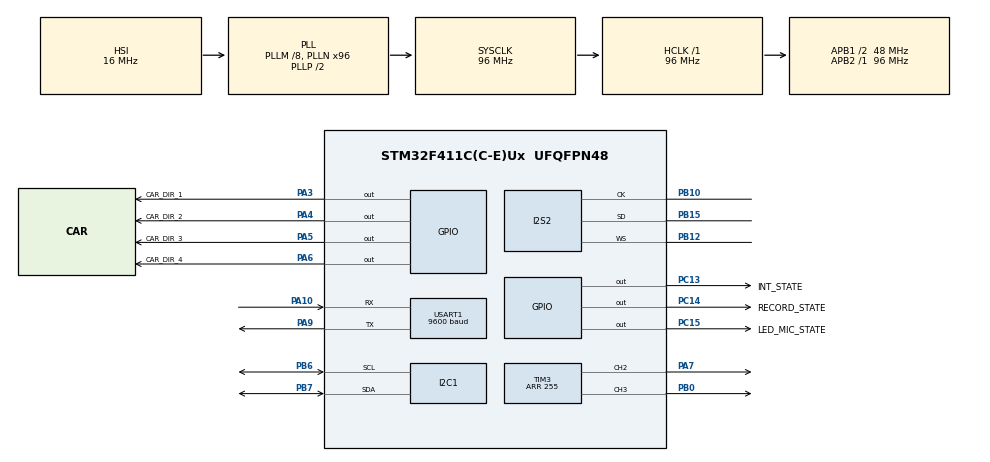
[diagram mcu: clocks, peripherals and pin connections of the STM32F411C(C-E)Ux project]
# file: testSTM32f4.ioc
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Dma.Request0=SPI2_RX
Dma.SPI2_RX.0.Direction=DMA_PERIPH_TO_MEMORY
Dma.SPI2_RX.0.FIFOMode=DMA_FIFOMODE_DISABLE
Dma.SPI2_RX.0.Instance=DMA1_Stream3
Dma.SPI2_RX.0.MemDataAlignment=DMA_MDATAALIGN_HALFWORD
Dma.SPI2_RX.0.MemInc=DMA_MINC_ENABLE
Dma.SPI2_RX.0.Mode=DMA_CIRCULAR
Dma.SPI2_RX.0.PeriphDataAlignment=DMA_PDATAALIGN_HALFWORD
Dma.SPI2_RX.0.PeriphInc=DMA_PINC_DISABLE
Dma.SPI2_RX.0.Priority=DMA_PRIORITY_LOW
I2S2.AudioFreq=I2S_AUDIOFREQ_16K
I2S2.ErrorAudioFreq=0.0 %
I2S2.FullDuplexMode=I2S_FULLDUPLEXMODE_DISABLE
I2S2.Instance=SPI$Index
I2S2.Mode=I2S_MODE_MASTER_RX
I2S2.RealAudioFreq=16.0 KHz
I2S2.VirtualMode=I2S_MODE_MASTER
Mcu.Family=STM32F4
Mcu.Name=STM32F411C(C-E)Ux
Mcu.Package=UFQFPN48
NVIC.DMA1_Stream3_IRQn=true\:0\:0\:false\:false\:true\:false\:true\:true
NVIC.PriorityGroup=NVIC_PRIORITYGROUP_4
NVIC.TIM5_IRQn=true\:0\:0\:false\:false\:true\:true\:true\:true
NVIC.USART1_IRQn=true\:0\:0\:false\:false\:true\:true\:true\:true
PA10.Mode=Asynchronous
PA10.Signal=USART1_RX
PA13.Mode=Serial_Wire
PA13.Signal=SYS_JTMS-SWDIO
PA14.Mode=Serial_Wire
PA14.Signal=SYS_JTCK-SWCLK
PA3.GPIO_Label=CAR_DIR_1
PA3.GPIO_PuPd=GPIO_PULLDOWN
PA3.Signal=GPIO_Output
PA4.GPIO_Label=CAR_DIR_2
PA4.GPIO_PuPd=GPIO_PULLDOWN
PA4.Signal=GPIO_Output
PA5.GPIO_Label=CAR_DIR_3
PA5.GPIO_PuPd=GPIO_PULLDOWN
PA5.Signal=GPIO_Output
PA6.GPIO_Label=CAR_DIR_4
PA6.GPIO_PuPd=GPIO_PULLDOWN
PA6.Signal=GPIO_Output
PA7.Signal=S_TIM3_CH2
PA9.Mode=Asynchronous
PA9.Signal=USART1_TX
PB0.Signal=S_TIM3_CH3
PB10.Mode=Half_Duplex_Master
PB10.Signal=I2S2_CK
PB12.Mode=Half_Duplex_Master
PB12.Signal=I2S2_WS
PB15.Mode=Half_Duplex_Master
PB15.Signal=I2S2_SD
PB6.Mode=I2C
PB6.Signal=I2C1_SCL
PB7.Mode=I2C
PB7.Signal=I2C1_SDA
PC13-ANTI_TAMP.GPIO_Label=INT_STATE
PC13-ANTI_TAMP.Signal=GPIO_Output
PC14-OSC32_IN.GPIO_Label=RECORD_STATE
PC14-OSC32_IN.GPIO_PuPd=GPIO_PULLDOWN
PC14-OSC32_IN.Signal=GPIO_Output
PC15-OSC32_OUT.GPIO_Label=LED_MIC_STATE
PC15-OSC32_OUT.GPIO_PuPd=GPIO_PULLDOWN
PC15-OSC32_OUT.Signal=GPIO_Output
PH0\ -\ OSC_IN.Mode=HSE-External-Oscillator
PH0\ -\ OSC_IN.Signal=RCC_OSC_IN
PH1\ -\ OSC_OUT.Mode=HSE-External-Oscillator
PH1\ -\ OSC_OUT.Signal=RCC_OSC_OUT
ProjectManager.HeapSize=0x200
ProjectManager.StackSize=0x400
ProjectManager.TargetToolchain=STM32CubeIDE
RCC.48MHZClocksFreq_Value=48000000
RCC.AHBFreq_Value=96000000
RCC.APB1CLKDivider=RCC_HCLK_DIV2
RCC.APB1Freq_Value=48000000
RCC.APB1TimFreq_Value=96000000
RCC.APB2Freq_Value=96000000
RCC.APB2TimFreq_Value=96000000
RCC.CortexFreq_Value=96000000
RCC.HCLKFreq_Value=96000000
RCC.HSE_VALUE=8000000
RCC.HSI_VALUE=16000000
RCC.LSE_VALUE=32768
RCC.PLLI2SR=3
RCC.PLLM=8
RCC.PLLN=96
RCC.SYSCLKFreq_VALUE=96000000
RCC.SYSCLKSource=RCC_SYSCLKSOURCE_PLLCLK
RCC.VCOOutputFreq_Value=192000000
SH.S_TIM3_CH2.0=TIM3_CH2,PWM Generation2 CH2
SH.S_TIM3_CH3.0=TIM3_CH3,PWM Generation3 CH3
TIM3.Channel-PWM\ Generation2\ CH2=TIM_CHANNEL_2
TIM3.Channel-PWM\ Generation3\ CH3=TIM_CHANNEL_3
TIM3.Period=255
TIM5.Period=19999999
TIM5.Prescaler=95
USART1.BaudRate=9600
USART1.VirtualMode=VM_ASYNC
VP_TIM3_VS_ClockSourceINT.Mode=Internal
VP_TIM5_VS_ClockSourceINT.Mode=Internal
board=custom

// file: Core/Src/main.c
/* USER CODE BEGIN Header */
/**
  ******************************************************************************
  * @file           : main.c
  * @brief          : Main program body
  ******************************************************************************
  * @attention
  *
  * Copyright (c) 2023 STMicroelectronics.
  * All rights reserved.
  *
  * This software is licensed under terms that can be found in the LICENSE file
  * in the root directory of this software component.
  * If no LICENSE file comes with this software, it is provided AS-IS.
  *
  ******************************************************************************
  */
/* USER CODE END Header */
#include "main.h"

/* USER CODE BEGIN Includes */
#include "math.h"
#include "stdlib.h"
/* USER CODE END Includes */

/* USER CODE BEGIN PTD */
struct INT_FLAGS{
	uint8_t audioButton;
	uint8_t recordButton;
	uint8_t recordTimer;
	uint8_t dataReceived;
	uint8_t voiceControl;
	uint8_t dataReceivedUART;
};

struct INT_FLAGS flags;
/* USER CODE END PTD */

/* USER CODE BEGIN PD */
#define MOVE_STOP 53
#define MOVE_FORWARD 51
#define MOVE_BACKWARD 115
#define MOVE_RIGHT 180
#define MOVE_LEFT 244
#define VOICE_MOVE_FORWARD 59
#define VOICE_MOVE_BACKWARD 60
#define VOICE_MOVE_TURN 61
#define TRANSMIT_TOTAL_RECORDS_COUNT 54
#define RESET_RECORDS_COUNT 55
#define START_RECORD 56
#define START_VOICE_FFT 57
#define START_VOICE_FFT_DCT 58
#define BUFFER_SIZE 1024 // 128
#define FFT_LENGTH 512 // 64
#define DEBOUNCE_TIME_MS 20
#define MAX_RECORD_COUNT 2
#define MAX_FREQ_AND_GAIN 20 // If the number of dB stored is 10 then it must be doubled
							 // => 20 to keep track of which dB belongs to a certain FREQS
const uint8_t EEPROM_NEXT_RECORD_ADDRESS = 20;
const uint16_t EEPROM_RECORDS_COUNT_ADDRESS = 32767;
const uint16_t EEPROM_DEFAULT_RECORDS_AUDIO_ADDRESS = 0;
const uint16_t EEPROM_ADDRESS = 0xA0;

const float DCT_A_1  = 5.66712379;
const float DCT_A_2  = 1.71957088;
const float DCT_A_3  = 0.923897982;
const float DCT_A_4  = -0.284491777;
const float DCT_A_5  = 1.67162347;
const float DCT_A_6  = 1.1735419;
const float DCT_A_7  = -3.90389204;
const float DCT_A_8  = -3.8169148;
const float DCT_A_9  = -1.91115558;
const float DCT_A_10 = -2.23016357;
const float DCT_A_11 = -2.21148348;
const float DCT_A_12 = -0.434009075;

const float DCT_O_1  = 5.71994734;
const float DCT_O_2  = -2.77491927;
const float DCT_O_3  = 1.29311395;
const float DCT_O_4  = 3.47904277;
const float DCT_O_5  = 2.06083465;
const float DCT_O_6  = 0.068764925;
const float DCT_O_7  = -3.57752585;
const float DCT_O_8  = -0.775300026;
const float DCT_O_9  = 0.0306355953;
const float DCT_O_10 = -1.05181408;
const float DCT_O_11 = -2.92223406;
const float DCT_O_12 = -0.598013163;

const float DCT_U_1  = 7.88730955;
const float DCT_U_2  = -0.0517123938;
const float DCT_U_3  = -0.0444734097;
const float DCT_U_4  = -2.38391399;
const float DCT_U_5  = -4.31766558;
const float DCT_U_6  = -5.56417513;
const float DCT_U_7  = -4.05968857;
const float DCT_U_8  = -0.52616334;
const float DCT_U_9  = 0.649846077 ;
const float DCT_U_10 = -1.08310235 ;
const float DCT_U_11 = -2.79250503;
const float DCT_U_12 = -2.29874849;

/* USER CODE END PD */

I2C_HandleTypeDef hi2c1;

I2S_HandleTypeDef hi2s2;
DMA_HandleTypeDef hdma_spi2_rx;

TIM_HandleTypeDef htim3;
TIM_HandleTypeDef htim5;

UART_HandleTypeDef huart1;

/* USER CODE BEGIN PV */

// DCT initialization
const int nfilter = 40;
float FREQ_MEL[100];
float fbank[40] = {};
float Hm[40] = {};
float DCT[40] = {};
float Energy1, Energy2, Energy3;
float Nguong1, Nguong2, Nguong3;

int	 Nhan_duoc_chu_A;
int  Nhan_duoc_chu_O;
int	 Nhan_duoc_chu_U;

// Initialize array of 4 uint16 bit buffer
uint16_t receiveBuffer[BUFFER_SIZE];
static volatile uint16_t *rxBufferPtr;

// Initialize FFT IN array
float fftBufferIn[BUFFER_SIZE / 2];
uint16_t fftBufferIndex;

// Initialize FFT OUT array
//float32_t fftBufferOut[BUFFER_SIZE / 2];

// Initialize FREQS (Hz) array
float freqs[FFT_LENGTH / 4];
uint8_t storedFreqs[MAX_RECORD_COUNT][FFT_LENGTH / 4];
uint8_t averageHighestFreqs[MAX_FREQ_AND_GAIN];

// UART Tx data
uint8_t txData[1];

// UART Rx Data
uint8_t rxData[1];
uint8_t rxDataTemp[1];

// Debounce button time
uint32_t currentTimeInMillis = 0;
uint32_t previousTimeInMillis = 0;

// Numb of time audio got recorded while STM32 is turned on
// this will be reset when STM32 is turned off
uint8_t recordsCount;

// Numb of records that were saved in EEPROM
uint8_t recordsAudioCount[1];

// FFT complex struct
const float pi = 3.14159265358979323846264338327950288419716939937510;
struct complex {
	float re;
	float im;
};
struct complex b[FFT_LENGTH],c[FFT_LENGTH];

// State of I2S
int stateI2S;

// State of audio record sequence
uint8_t stateRecordAudio;

// ** TESTING **
uint8_t isA = 0;
uint8_t isO = 0;
uint8_t resultAvg = 2;
uint8_t readAfter;
uint8_t readBefore;
uint8_t arrayF[MAX_FREQ_AND_GAIN];
uint8_t toWrite[3] = {1, 4, 5};
uint8_t testTotal;
/* USER CODE END PV */

void SystemClock_Config(void);
static void MX_GPIO_Init(void);
static void MX_DMA_Init(void);
static void MX_I2S2_Init(void);
static void MX_I2C1_Init(void);
static void MX_TIM5_Init(void);
static void MX_USART1_UART_Init(void);
static void MX_TIM3_Init(void);
/* USER CODE BEGIN PFP */
void toggleAudioStream();
void fftTransform();
void processData();
void enableRecordAudio();
void setLedSuccess();
void startVoiceRecognition();
void startRecordSequence();
void processDataUART();
void dctTransform();
void calcDctEnergy();
void voiceMoveCommand(uint8_t command);
void MEL_BANK_FILTER(float freq_max, int nfilt);
void setCarDirections(uint8_t dirState1, uint8_t dirState2, uint8_t dirState3, uint8_t dirState4, uint8_t speed);
uint8_t store10HighestFreqsdB();
uint8_t writeEEPROM(uint8_t *dataArray, uint16_t addressToWrite, uint16_t size);
uint8_t readEEPROM(uint8_t *dataArray, uint16_t addressToRead, uint16_t size);
uint8_t getValidKeys();
uint8_t startRecordAudio();
float complexABS(float real, float compl);
/* USER CODE END PFP */

/* USER CODE BEGIN 0 */

void MEL_BANK_FILTER(float freq_max, int nfilt)
{
	float   m_min = 0.0;
	float	m_max = 2595.0 * log10f(1.0 + freq_max / 700.0);
	float   delta = (m_max - m_min) / (nfilt + 1);

	for (int i = 0; i <= ( nfilt +  1); i++)
	{
		float mel_temp= delta * i;
		FREQ_MEL[i] =700.0 * (pow(10.0,mel_temp / 2595.0) - 1.0);
	}
}

struct complex w(float kn, float N)
{
	struct complex A;
	A.re = cos(2*pi*(kn/N));
	A.im = -sin(2*pi*(kn/N));
	return A;
}

int reverseBit(int a)
{
	int b = 0;
	for(int i = 0; i < log2f(FFT_LENGTH); i++)
	{
		b = b << 1;
		if ((a & 1) == 1)
		{
			b = b | 1;
		}
		a = a >> 1;
	}
	return b;
}

void fft(float* input,int length)
{
	struct complex pro;
	for(int i = 0; i < length; i++)
	{
		b[i].re = input[reverseBit(i)];
		b[i].im = 0;
	}
	for (int step = 0 ; (1 << step) < length; step ++)
	{
		for(int i = 0; i < length ; i ++)
		{
			if((i & (1 << step )) == 0)
			{
				pro.re = b[i+ (1 << step)].re * w((i+ (1 << step)) % (1 << step),pow(2,step+1)).re -  b[i+ (1 << step)].im * w((i+ (1 << step)) % (1 << step),pow(2,step+1)).im;
				pro.im = b[i+ (1 << step)].im * w((i+ (1 << step)) % (1 << step),pow(2,step+1)).re +  b[i+ (1 << step)].re * w((i+ (1 << step)) % (1 << step),pow(2,step+1)).im;
				b[i + (1 << step)].re = b[i].re - pro.re;
				b[i + (1 << step)].im = b[i].im - pro.im;
				b[i].re += pro.re;
				b[i].im += pro.im;
			}
		}
	}
}
/* USER CODE END 0 */

int main(void)
{

  /* MCU Configuration--------------------------------------------------------*/

  /* Reset of all peripherals, Initializes the Flash interface and the Systick. */
  HAL_Init();

  /* Configure the system clock */
  SystemClock_Config();

  /* Initialize all configured peripherals */
  MX_GPIO_Init();
  MX_DMA_Init();
  MX_I2S2_Init();
  MX_I2C1_Init();
  MX_TIM5_Init();
  MX_USART1_UART_Init();
  MX_TIM3_Init();
  /* USER CODE BEGIN 2 */

  flags.recordTimer = 1;
  flags.recordButton = 0;
  flags.audioButton = 0;

  HAL_UART_Receive_IT(&huart1, (uint8_t *) rxData, 1);
  HAL_TIM_PWM_Start(&htim3, TIM_CHANNEL_2);
  HAL_TIM_PWM_Start(&htim3, TIM_CHANNEL_3);

  /* USER CODE END 2 */

  /* Infinite loop */
  /* USER CODE BEGIN WHILE */
  while (1)
  {
	  // Clear FFT buffer index after each iteration
	  fftBufferIndex = 0;

	  if(flags.dataReceivedUART == 1) processDataUART();
	  if(flags.audioButton == 1) toggleAudioStream();
	  if(flags.recordButton == 1 && rxDataTemp[0] == START_VOICE_FFT) startRecordSequence();
	  if(flags.dataReceived == 1) processData();
	  if(flags.voiceControl == 1 && rxDataTemp[0] == START_VOICE_FFT) startVoiceRecognition();
    /* USER CODE END WHILE */

  }
}

void SystemClock_Config(void)
{
  RCC_OscInitTypeDef RCC_OscInitStruct = {0};
  RCC_ClkInitTypeDef RCC_ClkInitStruct = {0};

  /** Configure the main internal regulator output voltage
  */
  __HAL_RCC_PWR_CLK_ENABLE();
  __HAL_PWR_VOLTAGESCALING_CONFIG(PWR_REGULATOR_VOLTAGE_SCALE1);

  /** Initializes the RCC Oscillators according to the specified parameters
  * in the RCC_OscInitTypeDef structure.
  */
  RCC_OscInitStruct.OscillatorType = RCC_OSCILLATORTYPE_HSI;
  RCC_OscInitStruct.HSIState = RCC_HSI_ON;
  RCC_OscInitStruct.HSICalibrationValue = RCC_HSICALIBRATION_DEFAULT;
  RCC_OscInitStruct.PLL.PLLState = RCC_PLL_ON;
  RCC_OscInitStruct.PLL.PLLSource = RCC_PLLSOURCE_HSI;
  RCC_OscInitStruct.PLL.PLLM = 8;
  RCC_OscInitStruct.PLL.PLLN = 96;
  RCC_OscInitStruct.PLL.PLLP = RCC_PLLP_DIV2;
  RCC_OscInitStruct.PLL.PLLQ = 4;
  if (HAL_RCC_OscConfig(&RCC_OscInitStruct) != HAL_OK)
  {
    Error_Handler();
  }

  /** Initializes the CPU, AHB and APB buses clocks
  */
  RCC_ClkInitStruct.ClockType = RCC_CLOCKTYPE_HCLK|RCC_CLOCKTYPE_SYSCLK
                              |RCC_CLOCKTYPE_PCLK1|RCC_CLOCKTYPE_PCLK2;
  RCC_ClkInitStruct.SYSCLKSource = RCC_SYSCLKSOURCE_PLLCLK;
  RCC_ClkInitStruct.AHBCLKDivider = RCC_SYSCLK_DIV1;
  RCC_ClkInitStruct.APB1CLKDivider = RCC_HCLK_DIV2;
  RCC_ClkInitStruct.APB2CLKDivider = RCC_HCLK_DIV1;

  if (HAL_RCC_ClockConfig(&RCC_ClkInitStruct, FLASH_LATENCY_3) != HAL_OK)
  {
    Error_Handler();
  }
}

static void MX_I2C1_Init(void)
{

  hi2c1.Instance = I2C1;
  hi2c1.Init.ClockSpeed = 100000;
  hi2c1.Init.DutyCycle = I2C_DUTYCYCLE_2;
  hi2c1.Init.OwnAddress1 = 0;
  hi2c1.Init.AddressingMode = I2C_ADDRESSINGMODE_7BIT;
  hi2c1.Init.DualAddressMode = I2C_DUALADDRESS_DISABLE;
  hi2c1.Init.OwnAddress2 = 0;
  hi2c1.Init.GeneralCallMode = I2C_GENERALCALL_DISABLE;
  hi2c1.Init.NoStretchMode = I2C_NOSTRETCH_DISABLE;
  if (HAL_I2C_Init(&hi2c1) != HAL_OK)
  {
    Error_Handler();
  }

}

static void MX_I2S2_Init(void)
{

  hi2s2.Instance = SPI2;
  hi2s2.Init.Mode = I2S_MODE_MASTER_RX;
  hi2s2.Init.Standard = I2S_STANDARD_PHILIPS;
  hi2s2.Init.DataFormat = I2S_DATAFORMAT_16B;
  hi2s2.Init.MCLKOutput = I2S_MCLKOUTPUT_DISABLE;
  hi2s2.Init.AudioFreq = I2S_AUDIOFREQ_16K;
  hi2s2.Init.CPOL = I2S_CPOL_LOW;
  hi2s2.Init.ClockSource = I2S_CLOCK_PLL;
  hi2s2.Init.FullDuplexMode = I2S_FULLDUPLEXMODE_DISABLE;
  if (HAL_I2S_Init(&hi2s2) != HAL_OK)
  {
    Error_Handler();
  }

}

static void MX_TIM3_Init(void)
{

  TIM_ClockConfigTypeDef sClockSourceConfig = {0};
  TIM_MasterConfigTypeDef sMasterConfig = {0};
  TIM_OC_InitTypeDef sConfigOC = {0};

  htim3.Instance = TIM3;
  htim3.Init.Prescaler = 0;
  htim3.Init.CounterMode = TIM_COUNTERMODE_UP;
  htim3.Init.Period = 255;
  htim3.Init.ClockDivision = TIM_CLOCKDIVISION_DIV1;
  htim3.Init.AutoReloadPreload = TIM_AUTORELOAD_PRELOAD_DISABLE;
  if (HAL_TIM_Base_Init(&htim3) != HAL_OK)
  {
    Error_Handler();
  }
  sClockSourceConfig.ClockSource = TIM_CLOCKSOURCE_INTERNAL;
  if (HAL_TIM_ConfigClockSource(&htim3, &sClockSourceConfig) != HAL_OK)
  {
    Error_Handler();
  }
  if (HAL_TIM_PWM_Init(&htim3) != HAL_OK)
  {
    Error_Handler();
  }
  sMasterConfig.MasterOutputTrigger = TIM_TRGO_RESET;
  sMasterConfig.MasterSlaveMode = TIM_MASTERSLAVEMODE_DISABLE;
  if (HAL_TIMEx_MasterConfigSynchronization(&htim3, &sMasterConfig) != HAL_OK)
  {
    Error_Handler();
  }
  sConfigOC.OCMode = TIM_OCMODE_PWM1;
  sConfigOC.Pulse = 0;
  sConfigOC.OCPolarity = TIM_OCPOLARITY_HIGH;
  sConfigOC.OCFastMode = TIM_OCFAST_DISABLE;
  if (HAL_TIM_PWM_ConfigChannel(&htim3, &sConfigOC, TIM_CHANNEL_2) != HAL_OK)
  {
    Error_Handler();
  }
  if (HAL_TIM_PWM_ConfigChannel(&htim3, &sConfigOC, TIM_CHANNEL_3) != HAL_OK)
  {
    Error_Handler();
  }
  HAL_TIM_MspPostInit(&htim3);

}

static void MX_TIM5_Init(void)
{

  TIM_ClockConfigTypeDef sClockSourceConfig = {0};
  TIM_MasterConfigTypeDef sMasterConfig = {0};

  htim5.Instance = TIM5;
  htim5.Init.Prescaler = 95;
  htim5.Init.CounterMode = TIM_COUNTERMODE_UP;
  htim5.Init.Period = 19999999;
  htim5.Init.ClockDivision = TIM_CLOCKDIVISION_DIV1;
  htim5.Init.AutoReloadPreload = TIM_AUTORELOAD_PRELOAD_DISABLE;
  if (HAL_TIM_Base_Init(&htim5) != HAL_OK)
  {
    Error_Handler();
  }
  sClockSourceConfig.ClockSource = TIM_CLOCKSOURCE_INTERNAL;
  if (HAL_TIM_ConfigClockSource(&htim5, &sClockSourceConfig) != HAL_OK)
  {
    Error_Handler();
  }
  sMasterConfig.MasterOutputTrigger = TIM_TRGO_RESET;
  sMasterConfig.MasterSlaveMode = TIM_MASTERSLAVEMODE_DISABLE;
  if (HAL_TIMEx_MasterConfigSynchronization(&htim5, &sMasterConfig) != HAL_OK)
  {
    Error_Handler();
  }

}

static void MX_USART1_UART_Init(void)
{

  huart1.Instance = USART1;
  huart1.Init.BaudRate = 9600;
  huart1.Init.WordLength = UART_WORDLENGTH_8B;
  huart1.Init.StopBits = UART_STOPBITS_1;
  huart1.Init.Parity = UART_PARITY_NONE;
  huart1.Init.Mode = UART_MODE_TX_RX;
  huart1.Init.HwFlowCtl = UART_HWCONTROL_NONE;
  huart1.Init.OverSampling = UART_OVERSAMPLING_16;
  if (HAL_UART_Init(&huart1) != HAL_OK)
  {
    Error_Handler();
  }

}

static void MX_DMA_Init(void)
{

  /* DMA controller clock enable */
  __HAL_RCC_DMA1_CLK_ENABLE();

  /* DMA interrupt init */
  /* DMA1_Stream3_IRQn interrupt configuration */
  HAL_NVIC_SetPriority(DMA1_Stream3_IRQn, 0, 0);
  HAL_NVIC_EnableIRQ(DMA1_Stream3_IRQn);

}

static void MX_GPIO_Init(void)
{
  GPIO_InitTypeDef GPIO_InitStruct = {0};

  /* GPIO Ports Clock Enable */
  __HAL_RCC_GPIOC_CLK_ENABLE();
  __HAL_RCC_GPIOH_CLK_ENABLE();
  __HAL_RCC_GPIOA_CLK_ENABLE();
  __HAL_RCC_GPIOB_CLK_ENABLE();

  /*Configure GPIO pin Output Level */
  HAL_GPIO_WritePin(GPIOC, INT_STATE_Pin|RECORD_STATE_Pin|LED_MIC_STATE_Pin, GPIO_PIN_RESET);

  /*Configure GPIO pin Output Level */
  HAL_GPIO_WritePin(GPIOA, CAR_DIR_1_Pin|CAR_DIR_2_Pin|CAR_DIR_3_Pin|CAR_DIR_4_Pin, GPIO_PIN_RESET);

  /*Configure GPIO pin : INT_STATE_Pin */
  GPIO_InitStruct.Pin = INT_STATE_Pin;
  GPIO_InitStruct.Mode = GPIO_MODE_OUTPUT_PP;
  GPIO_InitStruct.Pull = GPIO_NOPULL;
  GPIO_InitStruct.Speed = GPIO_SPEED_FREQ_LOW;
  HAL_GPIO_Init(INT_STATE_GPIO_Port, &GPIO_InitStruct);

  /*Configure GPIO pins : RECORD_STATE_Pin LED_MIC_STATE_Pin */
  GPIO_InitStruct.Pin = RECORD_STATE_Pin|LED_MIC_STATE_Pin;
  GPIO_InitStruct.Mode = GPIO_MODE_OUTPUT_PP;
  GPIO_InitStruct.Pull = GPIO_PULLDOWN;
  GPIO_InitStruct.Speed = GPIO_SPEED_FREQ_LOW;
  HAL_GPIO_Init(GPIOC, &GPIO_InitStruct);

  /*Configure GPIO pins : CAR_DIR_1_Pin CAR_DIR_2_Pin CAR_DIR_3_Pin CAR_DIR_4_Pin */
  GPIO_InitStruct.Pin = CAR_DIR_1_Pin|CAR_DIR_2_Pin|CAR_DIR_3_Pin|CAR_DIR_4_Pin;
  GPIO_InitStruct.Mode = GPIO_MODE_OUTPUT_PP;
  GPIO_InitStruct.Pull = GPIO_PULLDOWN;
  GPIO_InitStruct.Speed = GPIO_SPEED_FREQ_LOW;
  HAL_GPIO_Init(GPIOA, &GPIO_InitStruct);

}

/* USER CODE BEGIN 4 */

void HAL_I2S_RxHalfCpltCallback(I2S_HandleTypeDef *hi2s)
{
	// Set pointer points to the memory of the first index of receiveBuffer
	// Set dataReceived flag
	rxBufferPtr = &receiveBuffer[0];
	flags.dataReceived = 1;
}

void HAL_I2S_RxCpltCallback(I2S_HandleTypeDef *hi2s)
{
	// Set pointer points to the memory of half the length of receiveBuffer
	// Set dataReceived flag
	rxBufferPtr = &receiveBuffer[BUFFER_SIZE / 2];
	flags.dataReceived = 1;
}

void HAL_TIM_PeriodElapsedCallback(TIM_HandleTypeDef *htim)
{
	if(htim->Instance == TIM5) {
		if(flags.recordTimer == 0) flags.recordTimer = 1;
		else flags.recordTimer = 0;
	}
}

void HAL_UART_RxCpltCallback(UART_HandleTypeDef *huart)
{
	if(huart->Instance == USART1) flags.dataReceivedUART = 1;
}

void toggleAudioStream()
{
	// Check for I2S state to turn on/off
	stateI2S = HAL_I2S_GetState(&hi2s2);
	if(stateI2S > HAL_I2S_STATE_READY){
		// Stops the audio DMA Stream/Channel playing from the Media
		HAL_I2S_DMAStop(&hi2s2);
		// Clear LED state
		HAL_GPIO_WritePin(LED_MIC_STATE_GPIO_Port, LED_MIC_STATE_Pin, GPIO_PIN_RESET);
		// Clear callback flag
		flags.dataReceived = 0;
	} else if(rxDataTemp[0] == START_VOICE_FFT_DCT) {
		// Enable I2S Receive DMA
		HAL_I2S_Receive_DMA(&hi2s2, (uint16_t *) receiveBuffer, BUFFER_SIZE);

		// Set LED state
		HAL_GPIO_WritePin(LED_MIC_STATE_GPIO_Port, LED_MIC_STATE_Pin, GPIO_PIN_SET);
	} else if(rxDataTemp[0] == START_VOICE_FFT){
		recordsCount = 0;
		flags.recordButton = 1;

		enableRecordAudio();
		startRecordAudio();

		flags.recordButton = 0;
		flags.voiceControl = 1;
	}
	// Clear audioButton flag
	flags.audioButton = 0;
}

void processData()
{
	// Loop through receiveBuffer, only get the left channel in buffer array
	// which is EVEN index and place the result in fftBufferIn
	for(uint16_t i = 0; i < BUFFER_SIZE; i += 2){
		// Transform uint16_t to float by dividing 65536.0
		fftBufferIn[fftBufferIndex] = (1.0 / 65536.0) * rxBufferPtr[i];
		// Increment fftBufferIndex
		fftBufferIndex++;
	}
	// FFT processing
	fftTransform();

	// Mel bank filter, param : max_freq and filter quantities
	if(rxDataTemp[0] == START_VOICE_FFT_DCT){
		MEL_BANK_FILTER(4000, nfilter);

		// DCT processing
		dctTransform();

		// Calc DCT energy
		calcDctEnergy();
	}

	flags.dataReceived = 0;
}

void fftTransform()
{
	// Transform real FFT, 0 means time domain to frequency domain
	// Return array contains real ([i]) and complex ([i + 1]) number
	//	arm_rfft_fast_f32(&fft_handler, (float32_t *) fftBufferIn, (float32_t *) fftBufferOut, 0);
	fft(fftBufferIn, FFT_LENGTH);

	// Calculate ABS value of complex vectors and translate into log dB range
	// Equation: 20 * log10( sqrt(real * real + complex * complex) );
	// Store the result in freqs array
	// Formula to check which index (index of freqs[]) correspond to a certain frequency:
	// INDEX = FREQ * (FFT_LENGTH / 4) / (F_SAMPLE / 2)
	// EX: 12 = 3000 * (64 / 2) / (16000 / 2);

	if(rxDataTemp[0] == START_VOICE_FFT_DCT){
		for(uint16_t i = 0; i < FFT_LENGTH / 4; i++){
			freqs[i] = b[i].re * b[i].re + b[i].im * b[i].im;
		}
	} else {
		for(uint16_t i = 0; i < FFT_LENGTH / 4; i++){
//			freqs[i] = (int)(20.0 * log10f(sqrtf(b[i].re * b[i].re + b[i].im * b[i].im)));
			freqs[i] = b[i].re * b[i].re + b[i].im * b[i].im;
			freqs[i] = floor(freqs[i] / FFT_LENGTH);
			if(flags.recordButton == 1 && flags.recordTimer == 1) storedFreqs[recordsCount][i] = (uint8_t) freqs[i];
		}
	}
}

void dctTransform(){

	for(int m = 1; m <=  nfilter ;m++)
	{
		float f_m_tru = FREQ_MEL[m - 1];
		float f_m = FREQ_MEL[m];
		float f_m_cong = FREQ_MEL[m + 1];
		int Start_num = f_m_tru / 31.25;
		while( (Start_num * 31.25) <= f_m_cong)
		{

			     if((Start_num * 31.25) <= f_m_tru)
			{
				fbank[m-1]= 0.0;
			}
			else if((Start_num * 31.25) <= f_m)
			{
				fbank[m-1]+= (((Start_num * 31.25) - f_m_tru) / (f_m - f_m_tru)) * freqs[Start_num];
			}
			else if((Start_num * 31.25) <= f_m_cong)
			{
				fbank[m-1]+= ((f_m_cong - (Start_num * 31.25)) / (f_m_cong - f_m)) * freqs[Start_num];
			}
			Start_num++;
		}
	}

	for (int i = 0 ; i < nfilter; i++)
	{
		Hm[i] =  log10f(fbank[i]);
	}

	for (int k = 0 ; k < nfilter; k++)
	{
		DCT[k] = 0;
		for (int n = 0; n < nfilter; n++)
		{
			DCT[k] += Hm[n] * cosf(pi/nfilter * (n + 0.5) * k);
		}
	}

}

void calcDctEnergy(){
	   Energy1 = sqrt( (( DCT[1] - (DCT_A_1)) * ( DCT[1] - (DCT_A_1))) + (( DCT[2] - (DCT_A_2)) * ( DCT[2] - (DCT_A_2))) + (( DCT[3] - (DCT_A_3)) * ( DCT[3] - (DCT_A_3))) + (( DCT[4] - (DCT_A_4)) * ( DCT[4] - (DCT_A_4)))  +  (( DCT[5] - (DCT_A_5)) * ( DCT[5] - (DCT_A_5))) + (( DCT[6] - (DCT_A_6)) * ( DCT[6] - (DCT_A_6))) +  (( DCT[7] - (DCT_A_7)) * ( DCT[7] - (DCT_A_7)))  +   (( DCT[8] - (DCT_A_8)) * ( DCT[8] - (DCT_A_8))) +  (( DCT[9] - (DCT_A_9)) * ( DCT[9] - (DCT_A_9)))  +   (( DCT[10] - (DCT_A_10)) * ( DCT[10] - (DCT_A_10)))   +    (( DCT[11] - (DCT_A_11)) * ( DCT[11] - (DCT_A_11))) + (( DCT[12] - (DCT_A_12)) * ( DCT[12] - (DCT_A_12))) );
	   Nguong1 = 1 - Energy1 / 12.0;
	   if(Nguong1 > 0.45)
	   {
		   txData[0] = 65;
		   HAL_UART_Transmit(&huart1, txData , 1, 1000);
		   flags.audioButton = 1;
	   }

	   Energy2 = sqrt( (( DCT[1] - (DCT_O_1)) * ( DCT[1] - (DCT_O_1))) + (( DCT[2] - (DCT_O_2)) * ( DCT[2] - (DCT_O_2))) + (( DCT[3] - (DCT_O_3)) * ( DCT[3] - (DCT_O_3))) + (( DCT[4] - (DCT_O_4)) * ( DCT[4] - (DCT_O_4)))  +  (( DCT[5] - (DCT_O_5)) * ( DCT[5] - (DCT_O_5))) + (( DCT[6] - (DCT_O_6)) * ( DCT[6] - (DCT_O_6))) +  (( DCT[7] - (DCT_O_7)) * ( DCT[7] - (DCT_O_7)))  +   (( DCT[8] - (DCT_O_8)) * ( DCT[8] - (DCT_O_8))) +  (( DCT[9] - (DCT_O_9)) * ( DCT[9] - (DCT_O_9)))  +   (( DCT[10] - (DCT_O_10)) * ( DCT[10] - (DCT_O_10)))   +    (( DCT[11] - (DCT_O_11)) * ( DCT[11] - (DCT_O_11))) + (( DCT[12] - (DCT_O_12)) * ( DCT[12] - (DCT_O_12))) );
	   Nguong2 = 1 - Energy2 / 12.0;
	   if(Nguong2 > 0.45)
	   {
		   txData[0] = 79;
		   HAL_UART_Transmit(&huart1, txData, 1, 1000);
		   flags.audioButton = 1;
	   }

	   Energy3 = sqrt( (( DCT[1] - (DCT_U_1)) * ( DCT[1] - (DCT_U_1))) + (( DCT[2] - (DCT_U_2)) * ( DCT[2] - (DCT_U_2))) + (( DCT[3] - (DCT_U_3)) * ( DCT[3] - (DCT_U_3))) + (( DCT[4] - (DCT_U_4)) * ( DCT[4] - (DCT_U_4)))  +  (( DCT[5] - (DCT_U_5)) * ( DCT[5] - (DCT_U_5))) + (( DCT[6] - (DCT_U_6)) * ( DCT[6] - (DCT_U_6))) +  (( DCT[7] - (DCT_U_7)) * ( DCT[7] - (DCT_U_7)))  +   (( DCT[8] - (DCT_U_8)) * ( DCT[8] - (DCT_U_8))) +  (( DCT[9] - (DCT_U_9)) * ( DCT[9] - (DCT_U_9)))  +   (( DCT[10] - (DCT_U_10)) * ( DCT[10] - (DCT_U_10)))   +    (( DCT[11] - (DCT_U_11)) * ( DCT[11] - (DCT_U_11))) + (( DCT[12] - (DCT_U_12)) * ( DCT[12] - (DCT_U_12))) );
	   Nguong3 = 1 - Energy3 / 12.0;
	   if(Nguong3 > 0.5)
	   {
		   txData[0] = 85;
		   HAL_UART_Transmit(&huart1, txData, 1, 1000);
		   flags.audioButton = 1;
	   }
}

void enableRecordAudio()
{
	// Start TIM5 2 seconds timer
	HAL_TIM_Base_Start_IT(&htim5);
}

uint8_t startRecordAudio()
{
	uint8_t isNoErrorWhileRecording = 1;

	// Start record audio sequence, wait 2 second
	// Set RECORD_STATE_Pin
	HAL_GPIO_WritePin(RECORD_STATE_GPIO_Port, RECORD_STATE_Pin, GPIO_PIN_SET);
	while(flags.recordTimer == 0);

	// Enable I2S Receive DMA
	HAL_I2S_Receive_DMA(&hi2s2, (uint16_t *) receiveBuffer, BUFFER_SIZE);
	// Clear RECORD_STATE_Pin
	HAL_GPIO_WritePin(RECORD_STATE_GPIO_Port, RECORD_STATE_Pin, GPIO_PIN_RESET);
	while(flags.recordTimer == 1) {
		fftBufferIndex = 0;
		if(flags.dataReceived == 1) processData();
	}

	// Stops the audio DMA Stream/Channel playing from the Media
	stateI2S = HAL_I2S_GetState(&hi2s2);
	if(stateI2S > HAL_I2S_STATE_READY) HAL_I2S_DMAStop(&hi2s2);

	// Clear the audio record LED state

	HAL_GPIO_WritePin(RECORD_STATE_GPIO_Port, RECORD_STATE_Pin, GPIO_PIN_SET);
	while(flags.recordTimer == 0);

	// Stop TIM5
	HAL_TIM_Base_Stop_IT(&htim5);

	// Clear RECORD_STATE Led
	HAL_GPIO_WritePin(RECORD_STATE_GPIO_Port, RECORD_STATE_Pin, GPIO_PIN_RESET);
	// Clear record timer flags
	flags.recordTimer = 0;
	// Clear dataReceived flag
	flags.dataReceived = 0;
	// Return status of record audio sequence
	return isNoErrorWhileRecording;
}

uint8_t store10HighestFreqsdB(){
	uint8_t totalFreqs = 0, tempFreqsIndex = 0, correctFreqsIndex = 0;
	uint8_t tempFreqs[MAX_FREQ_AND_GAIN];

	for(uint16_t freqSampledIndex = 0; freqSampledIndex < MAX_RECORD_COUNT; freqSampledIndex++){
		// First loop to get MAX_RECORD_COUNT storedFreqs[freqSampledIndex][x]; x means don't care
		for(uint16_t magniIndex = 0; magniIndex < FFT_LENGTH / 4; magniIndex++){
			// Second loop to check dB gain for a storedFreqs[x][dBIndex] sample; x means dont't care
			if(storedFreqs[freqSampledIndex][magniIndex] > 0 && freqSampledIndex <= 0) {
				tempFreqs[tempFreqsIndex] = magniIndex;
				tempFreqs[tempFreqsIndex + 1] = storedFreqs[freqSampledIndex][magniIndex];
				totalFreqs++;
				tempFreqsIndex += 2;
			} else if(storedFreqs[freqSampledIndex][magniIndex] > 0 && freqSampledIndex > 0){
				uint8_t isMatch = 0;

				for(uint8_t i = 0; i < tempFreqsIndex; i += 2){
					isMatch = tempFreqs[i] == magniIndex ? 1 : 0;

					if(isMatch >= 1) {
						averageHighestFreqs[correctFreqsIndex] = magniIndex;
						averageHighestFreqs[correctFreqsIndex + 1] = (storedFreqs[freqSampledIndex][magniIndex] + tempFreqs[i + 1] ) / 2;
						correctFreqsIndex += 2;
						break;
					}

				}
			}

			if(correctFreqsIndex >= 20 && freqSampledIndex > 0) break;
			if(totalFreqs >= 10 && freqSampledIndex <= 0) break;
		}
	}

	readAfter = correctFreqsIndex;
	readBefore = tempFreqsIndex;

	return 100 * correctFreqsIndex / tempFreqsIndex;
}

void startRecordSequence(){
	// Clear previous records counts
	HAL_GPIO_WritePin(RECORD_STATE_GPIO_Port, RECORD_STATE_Pin, GPIO_PIN_SET);
	HAL_GPIO_WritePin(LED_MIC_STATE_GPIO_Port, LED_MIC_STATE_Pin, GPIO_PIN_SET);
	HAL_Delay(1000);
	HAL_GPIO_WritePin(RECORD_STATE_GPIO_Port, RECORD_STATE_Pin, GPIO_PIN_RESET);
	HAL_GPIO_WritePin(LED_MIC_STATE_GPIO_Port, LED_MIC_STATE_Pin, GPIO_PIN_RESET);
	HAL_Delay(100);

	recordsCount = 0;
	// Clear previous recorded/processed arrays
	for(uint16_t i = 0; i < MAX_FREQ_AND_GAIN; i++){
	  averageHighestFreqs[i] = 0;
	}

	// Record audio MAX_RECORD_COUNT time
	while(recordsCount < MAX_RECORD_COUNT){
	  enableRecordAudio();
	  stateRecordAudio = startRecordAudio();

	  if(stateRecordAudio == 1) setLedSuccess();
	  else break;

	  recordsCount++;
	}

	resultAvg = store10HighestFreqsdB();

	// If successful then proceed to store highest FREQS got from records
	if(resultAvg >= 70 && stateRecordAudio == 1) {
	  writeEEPROM(averageHighestFreqs, EEPROM_DEFAULT_RECORDS_AUDIO_ADDRESS, sizeof(averageHighestFreqs));
	  HAL_Delay(500);
	  // Increment when write to EEPROM return successfully
	  readEEPROM(recordsAudioCount, EEPROM_RECORDS_COUNT_ADDRESS, sizeof(recordsAudioCount));
	  HAL_Delay(500);
	  recordsAudioCount[0]++;
	  writeEEPROM(recordsAudioCount, EEPROM_RECORDS_COUNT_ADDRESS, sizeof(recordsAudioCount));
	  flags.recordButton = 0;
	}
}

void setLedSuccess(){
	uint16_t delayTime = 500;
	for(uint8_t i = 0; i < 10; i++){
		HAL_GPIO_WritePin(RECORD_STATE_GPIO_Port, RECORD_STATE_Pin, GPIO_PIN_SET);
		HAL_GPIO_WritePin(LED_MIC_STATE_GPIO_Port, LED_MIC_STATE_Pin, GPIO_PIN_SET);
		HAL_Delay(delayTime);
		HAL_GPIO_WritePin(RECORD_STATE_GPIO_Port, RECORD_STATE_Pin, GPIO_PIN_RESET);
		HAL_GPIO_WritePin(LED_MIC_STATE_GPIO_Port, LED_MIC_STATE_Pin, GPIO_PIN_RESET);
		HAL_Delay(100);
		delayTime -= 50;
	}
	HAL_Delay(1000);

}

void startVoiceRecognition(){
	uint8_t keyMatches = 0, totalKey = 0, freqIndex = 0,
			previousMatchPercent = 1, currentMatchPercent = 0, prevHighestMagni = 0,
			indexHighestMagni = 0, indexHighestEEPROMMagni = 0, prevHighestEEPROMMagni = 0,
			totalStored = 0, status;

	flags.voiceControl = 0;

	// Clear previous recorded/processed arrays
	for(uint16_t i = 0; i < MAX_FREQ_AND_GAIN; i++){
	  averageHighestFreqs[i] = 0;
	}

	isA = 0;
	isO = 0;

	// store record counts to recordsAudioCount[]
	status = readEEPROM(recordsAudioCount, EEPROM_RECORDS_COUNT_ADDRESS, sizeof(recordsAudioCount));
	HAL_Delay(100);
	if(status != HAL_OK) return;

	totalStored = recordsAudioCount[0];

	if(totalStored <= 0) return;

	while(totalStored > 0){
		// decrement recordsAudioCount so that readEEPROM can calc the
		// correct address
		totalStored--;
		recordsAudioCount[0] = totalStored;

		// store keys to averageHighestFreqs[]
		readEEPROM(averageHighestFreqs, EEPROM_DEFAULT_RECORDS_AUDIO_ADDRESS, sizeof(averageHighestFreqs));
		HAL_Delay(100);

		keyMatches = 0;
		freqIndex = 0;
		totalKey = 0;

		for(uint8_t avgIndex = 0; avgIndex < MAX_FREQ_AND_GAIN; avgIndex += 2){
			freqIndex = averageHighestFreqs[avgIndex];

			if(freqIndex == 0 && (freqIndex + 1) == 0) break;
			if(storedFreqs[0][freqIndex] > 0) {

				if(storedFreqs[0][freqIndex] > prevHighestMagni && freqIndex != 0) {
					prevHighestMagni = storedFreqs[0][freqIndex];
					indexHighestMagni = freqIndex;
				}

				keyMatches++;
			}

			if(averageHighestFreqs[avgIndex + 1] > prevHighestEEPROMMagni && avgIndex != 0) {
				prevHighestEEPROMMagni = averageHighestFreqs[avgIndex + 1];
				indexHighestEEPROMMagni = freqIndex;
			}

			totalKey++;
		}

		readBefore = indexHighestEEPROMMagni;
		readAfter = indexHighestMagni;

		currentMatchPercent = 100 * keyMatches / totalKey;
		if(currentMatchPercent > previousMatchPercent
				&& currentMatchPercent >= 60
				&& indexHighestEEPROMMagni == indexHighestMagni) {
			previousMatchPercent = currentMatchPercent;
			if(totalStored == 0) isA = 1;
			else if(totalStored == 1) isO = 1;
		}

		prevHighestEEPROMMagni = 0;
		prevHighestMagni = 0;
	}

	if(previousMatchPercent >= 80) setLedSuccess();
	HAL_GPIO_WritePin(RECORD_STATE_GPIO_Port, RECORD_STATE_Pin, GPIO_PIN_RESET);
	HAL_GPIO_WritePin(LED_MIC_STATE_GPIO_Port, LED_MIC_STATE_Pin, GPIO_PIN_RESET);

}

uint8_t getValidKeys(){
	uint8_t totalValidKeys = 0;
	for(uint8_t i = 0; i < MAX_FREQ_AND_GAIN; i += 2){
	  if(averageHighestFreqs[i] == 0 && averageHighestFreqs[i + 1] == 0) break;
	  totalValidKeys++;
	}

	return totalValidKeys;
}

void processDataUART(){
	uint8_t rxDataUART;
	flags.dataReceivedUART = 0;

	rxDataUART = rxData[0];

	if(rxDataUART == RESET_RECORDS_COUNT) {
		recordsAudioCount[0] = 0;
		writeEEPROM(recordsAudioCount, EEPROM_RECORDS_COUNT_ADDRESS, sizeof(recordsAudioCount));
	} else if(rxDataUART == START_RECORD) {
		rxDataTemp[0] = START_VOICE_FFT;
		flags.recordButton = 1;
	} else if(rxDataUART == START_VOICE_FFT){
		rxDataTemp[0] = START_VOICE_FFT;
		flags.audioButton = 1;
	} else if(rxDataUART == TRANSMIT_TOTAL_RECORDS_COUNT){
		readEEPROM(recordsAudioCount, EEPROM_RECORDS_COUNT_ADDRESS, sizeof(recordsAudioCount));
		HAL_Delay(100);
		HAL_UART_Transmit(&huart1, recordsAudioCount, 1, 1000);
	} else if(rxDataUART == START_VOICE_FFT_DCT){
		flags.audioButton = 1;
		rxDataTemp[0] = START_VOICE_FFT_DCT;
	} else if(rxDataUART == VOICE_MOVE_FORWARD){
		voiceMoveCommand(VOICE_MOVE_FORWARD);
	} else if(rxDataUART == VOICE_MOVE_BACKWARD){
		voiceMoveCommand(VOICE_MOVE_BACKWARD);
	} else if(rxDataUART == VOICE_MOVE_TURN){
		voiceMoveCommand(VOICE_MOVE_TURN);
	} else if(rxDataUART == MOVE_STOP){
		setCarDirections(GPIO_PIN_RESET, GPIO_PIN_RESET, GPIO_PIN_RESET, GPIO_PIN_RESET, 0);
	} else if(rxDataUART <= MOVE_FORWARD){
		setCarDirections(GPIO_PIN_SET, GPIO_PIN_RESET, GPIO_PIN_SET, GPIO_PIN_RESET, rxDataUART * 5);
	} else if(rxDataUART <= MOVE_BACKWARD){
		setCarDirections(GPIO_PIN_RESET, GPIO_PIN_SET, GPIO_PIN_RESET, GPIO_PIN_SET, (rxDataUART - 64) * 5);
	} else if(rxDataUART <= MOVE_RIGHT){
		setCarDirections(GPIO_PIN_SET, GPIO_PIN_RESET, GPIO_PIN_RESET, GPIO_PIN_SET, 110);
	} else if(rxDataUART <= MOVE_LEFT){
		setCarDirections(GPIO_PIN_RESET, GPIO_PIN_SET, GPIO_PIN_SET, GPIO_PIN_RESET, 110);
	}
	// Enable UART receive interrupt again
	HAL_UART_Receive_IT(&huart1, (uint8_t *) rxData, 1);
}

void voiceMoveCommand(uint8_t command){
	if(command == VOICE_MOVE_FORWARD){
		setCarDirections(GPIO_PIN_SET, GPIO_PIN_RESET, GPIO_PIN_SET, GPIO_PIN_RESET, 110);
	} else if(command == VOICE_MOVE_BACKWARD){
		setCarDirections(GPIO_PIN_RESET, GPIO_PIN_SET, GPIO_PIN_RESET, GPIO_PIN_SET, 110);
	} else {
		setCarDirections(GPIO_PIN_SET, GPIO_PIN_RESET, GPIO_PIN_RESET, GPIO_PIN_SET, 110);
	}

	HAL_Delay(1500);

	// turn off car after 1500ms
	setCarDirections(GPIO_PIN_RESET, GPIO_PIN_RESET, GPIO_PIN_RESET, GPIO_PIN_RESET, 0);
}

void setCarDirections(uint8_t dirState1, uint8_t dirState2, uint8_t dirState3, uint8_t dirState4, uint8_t speed){
	HAL_GPIO_WritePin(CAR_DIR_1_GPIO_Port, CAR_DIR_1_Pin, dirState1);
	HAL_GPIO_WritePin(CAR_DIR_2_GPIO_Port, CAR_DIR_2_Pin, dirState2);
	HAL_GPIO_WritePin(CAR_DIR_3_GPIO_Port, CAR_DIR_3_Pin, dirState3);
	HAL_GPIO_WritePin(CAR_DIR_4_GPIO_Port, CAR_DIR_4_Pin, dirState4);

	__HAL_TIM_SET_COMPARE(&htim3, TIM_CHANNEL_2, speed);
	__HAL_TIM_SET_COMPARE(&htim3, TIM_CHANNEL_3, speed);
}

uint8_t writeEEPROM(uint8_t *dataArray, uint16_t addressToWrite, uint16_t size){
	uint8_t status;

	if(addressToWrite != EEPROM_RECORDS_COUNT_ADDRESS){
		status = readEEPROM(recordsAudioCount, EEPROM_RECORDS_COUNT_ADDRESS, sizeof(recordsAudioCount));

		if(status == HAL_OK) addressToWrite = addressToWrite + EEPROM_NEXT_RECORD_ADDRESS * recordsAudioCount[0] + floor(recordsAudioCount[0] / 3 ) * 4;
		else return HAL_ERROR;
	}

	status = HAL_I2C_Mem_Write(&hi2c1, EEPROM_ADDRESS, addressToWrite, 2, dataArray, size, 1000);
	return status;
}

uint8_t readEEPROM(uint8_t *dataArray, uint16_t addressToRead, uint16_t size){
	uint8_t status;

	if(addressToRead != EEPROM_RECORDS_COUNT_ADDRESS){
		addressToRead = addressToRead + EEPROM_NEXT_RECORD_ADDRESS * recordsAudioCount[0] + floor(recordsAudioCount[0] / 3 ) * 4;
	}

	status = HAL_I2C_Mem_Read(&hi2c1, EEPROM_ADDRESS, addressToRead, 2, dataArray, size, 1000);
	return status;
}

// TESTING PURPOSE ONLY
// Config for printf debug
int _write(int file, char *ptr, int len)
{
  (void)file;
  int DataIdx;

  for (DataIdx = 0; DataIdx < len; DataIdx++)
  {
    ITM_SendChar(*ptr++);
  }
  return len;
}

/* USER CODE END 4 */

void Error_Handler(void)
{
  __disable_irq();
  while (1)
  {
  }
}
